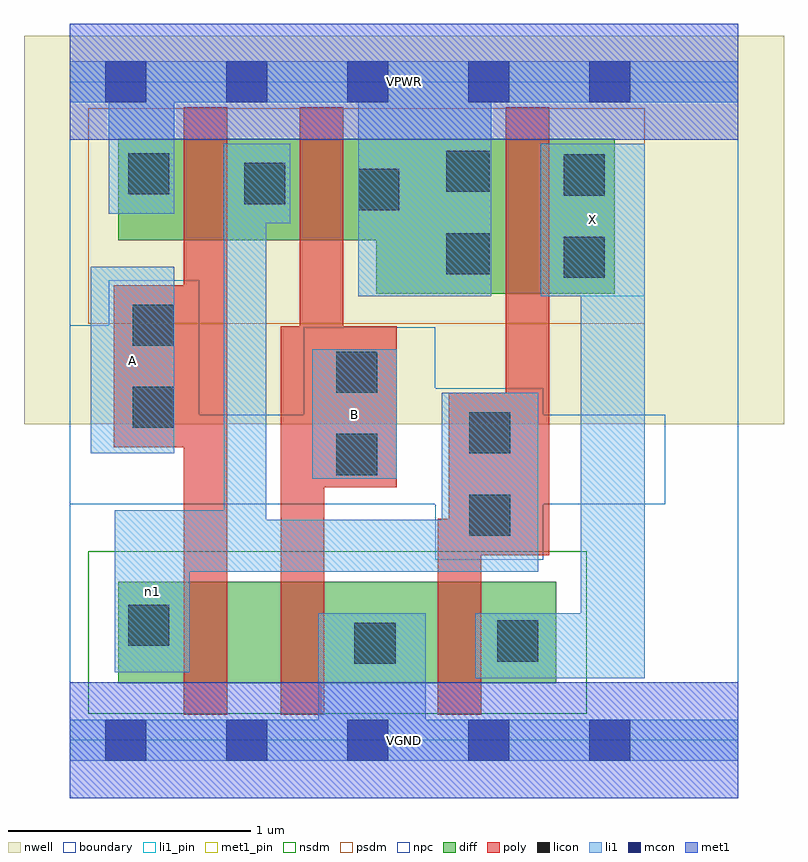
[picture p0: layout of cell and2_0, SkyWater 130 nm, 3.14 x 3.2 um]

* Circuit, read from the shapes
.subckt and2_0 A B VGND VPWR X n1
XM1 n2 A n1 VSUBS sky130_fd_pr__nfet_01v8 w=0.42 l=0.18
XM2 VGND B n2 VSUBS sky130_fd_pr__nfet_01v8 w=0.42 l=0.18
XM3 X n1 VGND VSUBS sky130_fd_pr__nfet_01v8 w=0.42 l=0.18
XM4 n1 A VPWR n3 sky130_fd_pr__pfet_01v8 w=0.42 l=0.18
XM5 VPWR B n1 n3 sky130_fd_pr__pfet_01v8 w=0.42 l=0.18
XM6 X n1 VPWR n3 sky130_fd_pr__pfet_01v8 w=0.64 l=0.18
.ends

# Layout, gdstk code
import gdstk
lib = gdstk.Library(unit=1e-6, precision=1e-09)
def R(c, l, rs):  # rectangles x0, y0, x1, y1
    for r in rs: c.add(gdstk.rectangle(r[:2], r[2:], *l))
def A(c, l, x, y, w, h, nx, ny, dx, dy):  # array of equal rectangles
    R(c, l, [(x+i*dx, y+j*dy, x+i*dx+w, y+j*dy+h) for i in range(nx) for j in range(ny)])
nwell = (64, 20)
diff = (65, 20)
poly = (66, 20)
licon = (66, 44)
li1_pin = (67, 16)
li1 = (67, 20)
mcon = (67, 44)
met1_pin = (68, 16)
met1 = (68, 20)
nsdm = (93, 44)
psdm = (94, 20)
npc = (95, 20)
boundary = (235, 4)

and2_0 = lib.new_cell('and2_0')
R(and2_0, nwell, [(-0.19,1.305,2.95,2.91), (0,1.305,2.76,2.91)])
R(and2_0, diff, [(0.2,0.235,2.01,0.655), (1.265,1.845,2.25,2.485), (0.2,2.065,2.25,2.485)])
R(and2_0, poly, [(0.47,0.105,0.65,2.615), (0.87,0.105,1.05,1.71), (1.52,0.105,1.7,0.915), (1.565,0.765,1.8,1.435), (1.8,0.765,1.98,2.615), (0.87,1.045,1.35,1.71), (0.95,1.045,1.13,2.615), (0.18,1.21,0.65,1.88)])
R(and2_0, licon, [(1.175,0.315,1.345,0.485), (1.765,0.325,1.935,0.495), (0.24,0.39,0.41,0.56), (1.65,0.845,1.82,1.015), (1.1,1.095,1.27,1.265), (1.65,1.185,1.82,1.355), (0.26,1.29,0.43,1.46), (1.1,1.435,1.27,1.605), (0.26,1.63,0.43,1.8), (2.04,1.91,2.21,2.08), (1.555,1.925,1.725,2.095), (1.565,1.925,1.735,2.095), (1.19,2.19,1.36,2.36), (0.72,2.215,0.89,2.385), (2.04,2.25,2.21,2.42), (0.24,2.255,0.41,2.425), (1.555,2.265,1.725,2.435), (1.565,2.265,1.735,2.435)])
R(and2_0, li1_pin, [(1,1.08,1.35,1.615), (0.085,1.185,0.43,1.955), (1.945,1.835,2.375,2.465)])
R(and2_0, li1, [(0,-0.085,2.76,0.085), (1.025,-0.085,1.47,0.525), (1.675,0.255,2.375,0.525), (2.11,0.255,2.375,2.465), (0.185,0.28,0.495,0.95), (0.185,0.695,1.935,0.91), (0.185,0.695,0.81,0.95), (0.635,0.695,0.81,2.465), (1.535,0.695,1.935,1.435), (1,1.08,1.35,1.615), (0.085,1.185,0.43,1.955), (1.19,1.835,1.74,2.805), (1.945,1.835,2.375,2.465), (0.635,2.135,0.91,2.465), (0.16,2.175,0.43,2.805), (0,2.635,2.76,2.805)])
A(and2_0, mcon, 0.145, -0.085, 0.17, 0.17, 5, 2, 0.5, 2.72)
R(and2_0, met1_pin, [(0,-0.24,2.76,0.24), (0,2.48,2.76,2.96)])
R(and2_0, met1, [(0,-0.24,2.76,0.24), (0,2.48,2.76,2.96)])
R(and2_0, nsdm, [(0.075,0.11,2.135,0.78)])
R(and2_0, psdm, [(0.075,1.72,2.375,2.61)])
R(and2_0, npc, [(1.51,0.745,1.955,1.455), (0,0.975,2.46,1.345), (0,0.975,0.535,1.715), (0.16,0.975,0.535,1.9), (0.965,0.975,1.51,1.705)])
R(and2_0, boundary, [(0,0,2.76,2.72)])
and2_0.add(gdstk.Label('A', (0.257,1.57), layer=67, texttype=5))
and2_0.add(gdstk.Label('B', (1.175,1.347), layer=67, texttype=5))
and2_0.add(gdstk.Label('X', (2.16,2.15), layer=67, texttype=5))
and2_0.add(gdstk.Label('n1', (0.34,0.615), layer=67, texttype=5))
and2_0.add(gdstk.Label('VPWR', (1.38,2.72), layer=68, texttype=5))
and2_0.add(gdstk.Label('VGND', (1.38,0), layer=68, texttype=5))
and2_0.add(gdstk.Label('A', (0.257,1.57), layer=67, texttype=16))
and2_0.add(gdstk.Label('B', (1.175,1.347), layer=67, texttype=16))
and2_0.add(gdstk.Label('X', (2.16,2.15), layer=67, texttype=16))
and2_0.add(gdstk.Label('VPWR', (1.38,2.72), layer=68, texttype=16))
and2_0.add(gdstk.Label('VGND', (1.38,0), layer=68, texttype=16))

lib.write_gds('and2_0.gds')
